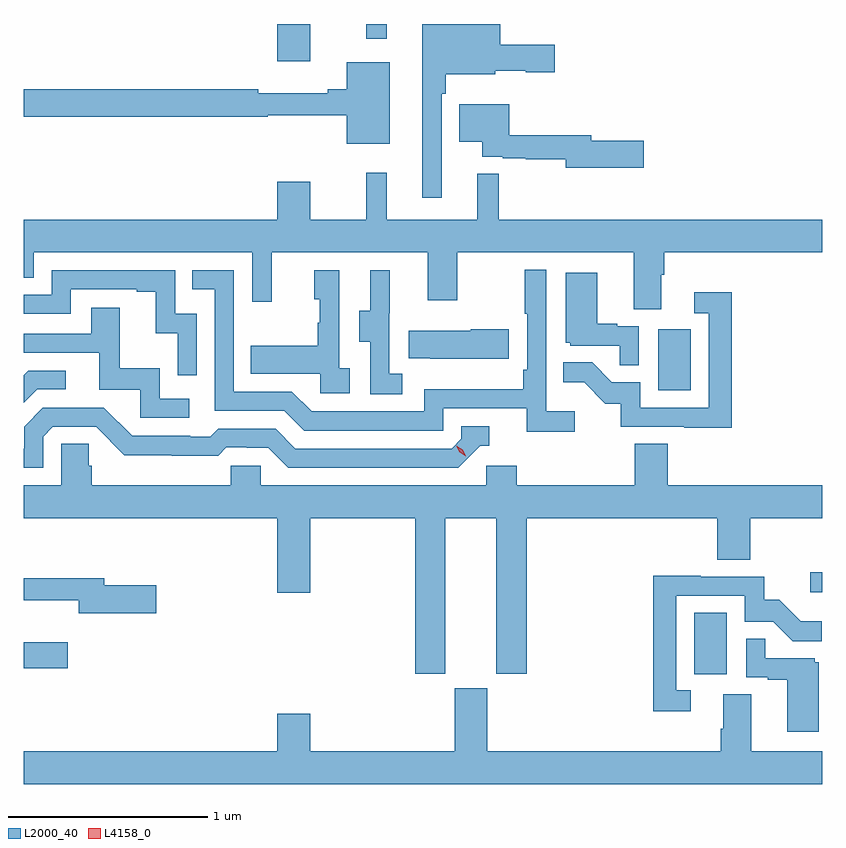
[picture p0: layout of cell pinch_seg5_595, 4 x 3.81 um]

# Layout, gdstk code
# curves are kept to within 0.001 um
import gdstk
lib = gdstk.Library(unit=1e-6, precision=1e-09)
def R(c, l, rs):  # rectangles x0, y0, x1, y1
    for r in rs: c.add(gdstk.rectangle(r[:2], r[2:], *l))
def P(c, l, *ps):  # polygons
    for p in ps: c.add(gdstk.Polygon(p, *l))
L2000_40 = (2000, 40)
L4158_0 = (4158, 0)

pinch_seg5_595 = lib.new_cell('pinch_seg5_595')
R(pinch_seg5_595, L2000_40, [(1114.148,862.638,1114.312,862.945), (1110.79,862.669,1111.009,862.798), (1114.731,863.048,1114.79,863.15), (1113.968,864.06,1114.132,864.367), (1112.06,865.71,1112.224,865.896), (1112.506,865.821,1112.608,865.896)])
P(pinch_seg5_595, L2000_40, [(1112.883,865.547),(1112.903,865.547),(1112.903,865.643),(1113.153,865.643),(1113.153,865.661),(1113.304,865.661),(1113.304,865.654),(1113.451,865.654),(1113.451,865.791),(1113.176,865.791),(1113.176,865.896),(1112.786,865.896),(1112.786,865.026),(1112.883,865.026)],
  [(1112.623,865.705),(1112.408,865.705),(1112.408,865.568),(1112.312,865.568),(1112.312,865.549),(1111.964,865.549),(1111.964,865.568),(1110.79,865.568),(1110.79,865.432),(1112.012,865.432),(1112.012,865.44),(1112.408,865.44),(1112.408,865.295),(1112.623,865.295)],
  [(1113.895,865.31),(1113.634,865.31),(1113.634,865.339),(1113.221,865.339),(1113.221,865.495),(1112.972,865.495),(1112.972,865.307),(1113.086,865.307),(1113.086,865.23),(1113.19,865.23),(1113.19,865.224),(1113.304,865.224),(1113.304,865.218),(1113.506,865.218),(1113.506,865.175),(1113.895,865.175)],
  [(1113.985,864.64),(1113.998,864.64),(1113.998,864.752),(1114.79,864.752),(1114.79,864.916),(1113.17,864.916),(1113.17,865.145),(1113.062,865.145),(1113.062,864.916),(1112.609,864.916),(1112.609,865.15),(1112.506,865.15),(1112.506,864.916),(1112.224,864.916),(1112.224,865.105),(1112.06,865.105),(1112.06,864.916),(1110.79,864.916),(1110.79,864.625),(1110.84,864.625),(1110.84,864.752),(1111.935,864.752),(1111.935,864.504),(1112.033,864.504),(1112.033,864.752),(1112.813,864.752),(1112.813,864.513),(1112.961,864.513),(1112.961,864.752),(1113.845,864.752),(1113.845,864.466),(1113.985,864.466)],
  [(1113.55,863.956),(1113.408,863.956),(1113.408,864.664),(1113.3,864.664),(1113.3,864.445),(1113.312,864.445),(1113.312,864.163),(1113.292,864.163),(1113.292,864.067),(1112.796,864.067),(1112.796,863.955),(1112.232,863.955),(1112.133,864.054),(1111.842,864.054),(1111.842,864.663),(1111.633,864.663),(1111.633,864.567),(1111.746,864.567),(1111.746,863.958),(1112.096,863.958),(1112.195,863.859),(1112.892,863.859),(1112.892,863.97),(1113.311,863.97),(1113.311,863.854),(1113.55,863.854)],
  [(1111.656,864.444),(1111.548,864.444),(1111.548,864.663),(1110.93,864.663),(1110.93,864.54),(1110.79,864.54),(1110.79,864.444),(1111.026,864.444),(1111.026,864.567),(1111.355,864.567),(1111.355,864.555),(1111.451,864.555),(1111.451,864.347),(1111.56,864.347),(1111.56,864.135),(1111.656,864.135)],
  [(1112.422,864.17),(1112.37,864.17),(1112.37,864.661),(1112.246,864.661),(1112.246,864.516),(1112.272,864.516),(1112.272,864.398),(1112.262,864.398),(1112.262,864.283),(1111.927,864.283),(1111.927,864.143),(1112.274,864.143),(1112.274,864.045),(1112.422,864.045)],
  [(1112.686,864.143),(1112.622,864.143),(1112.622,864.447),(1112.624,864.447),(1112.624,864.661),(1112.525,864.661),(1112.525,864.459),(1112.471,864.459),(1112.471,864.304),(1112.526,864.304),(1112.526,864.04),(1112.686,864.04)],
  [(1113.87,864.381),(1113.764,864.381),(1113.764,864.394),(1113.664,864.394),(1113.664,864.649),(1113.506,864.649),(1113.506,864.3),(1113.528,864.3),(1113.528,864.285),(1113.775,864.285),(1113.775,864.187),(1113.87,864.187)],
  [(1114.337,864.553),(1114.149,864.553),(1114.149,864.447),(1114.221,864.447),(1114.221,863.973),(1113.879,863.973),(1113.879,864.102),(1113.735,864.102),(1113.637,864.2),(1113.493,864.2),(1113.493,864.101),(1113.597,864.101),(1113.704,863.994),(1113.781,863.994),(1113.781,863.877),(1114.099,863.877),(1114.099,863.872),(1114.337,863.872)],
  [(1111.618,864.018),(1111.47,864.018),(1111.47,864.172),(1111.271,864.172),(1111.271,864.475),(1111.127,864.475),(1111.127,864.345),(1110.79,864.345),(1110.79,864.249),(1111.169,864.249),(1111.169,864.063),(1111.374,864.063),(1111.374,863.922),(1111.618,863.922)],
  [(1113.22,864.366),(1113.029,864.366),(1113.029,864.358),(1112.719,864.358),(1112.719,864.221),(1112.827,864.221),(1112.827,864.218),(1113.22,864.218)],
  [(1110.858,864.066),(1111,864.066),(1111,864.159),(1110.812,864.159),(1110.79,864.137),(1110.79,863.998)],
  [(1110.888,863.829),(1110.936,863.877),(1111.152,863.877),(1111.294,863.735),(1111.53,863.735),(1111.53,863.733),(1111.763,863.733),(1111.805,863.775),(1111.908,863.775),(1111.908,863.772),(1112.015,863.772),(1112.114,863.673),(1112.967,863.673),(1113.078,863.784),(1113.121,863.784),(1113.121,863.88),(1112.982,863.88),(1112.982,863.817),(1112.934,863.769),(1112.151,863.769),(1112.052,863.868),(1111.763,863.868),(1111.724,863.829),(1111.625,863.829),(1111.625,863.832),(1111.332,863.832),(1111.191,863.973),(1110.885,863.973),(1110.791,863.879),(1110.79,863.673),(1110.888,863.673)],
  [(1112.902,863.42),(1113.158,863.42),(1113.158,862.641),(1113.311,862.641),(1113.311,863.42),(1114.265,863.42),(1114.265,863.212),(1114.43,863.212),(1114.43,863.42),(1114.79,863.42),(1114.79,863.584),(1114.016,863.584),(1114.016,863.792),(1113.851,863.792),(1113.851,863.584),(1113.26,863.584),(1113.26,863.682),(1113.108,863.682),(1113.108,863.584),(1111.977,863.584),(1111.977,863.682),(1111.827,863.682),(1111.827,863.584),(1111.13,863.584),(1111.13,863.682),(1111.115,863.682),(1111.115,863.792),(1110.978,863.792),(1110.978,863.584),(1110.79,863.584),(1110.79,863.42),(1112.06,863.42),(1112.06,863.046),(1112.224,863.046),(1112.224,863.42),(1112.75,863.42),(1112.75,862.641),(1112.902,862.641)],
  [(1114.132,862.557),(1114.059,862.557),(1114.059,863.031),(1114.401,863.031),(1114.401,862.902),(1114.545,862.902),(1114.643,862.804),(1114.787,862.804),(1114.787,862.903),(1114.683,862.903),(1114.576,863.01),(1114.5,863.01),(1114.5,863.127),(1114.181,863.127),(1114.181,863.132),(1113.943,863.132),(1113.943,862.452),(1114.132,862.452)],
  [(1111.453,863.085),(1111.192,863.085),(1111.192,863.119),(1110.79,863.119),(1110.79,863.009),(1111.064,863.009),(1111.064,862.943),(1111.453,862.943)],
  [(1114.774,862.698),(1114.752,862.698),(1114.752,862.719),(1114.505,862.719),(1114.505,862.817),(1114.41,862.817),(1114.41,862.623),(1114.517,862.623),(1114.517,862.611),(1114.616,862.611),(1114.616,862.35),(1114.774,862.35)],
  [(1114.79,862.252),(1114.435,862.252),(1114.435,862.538),(1114.295,862.538),(1114.295,862.364),(1114.283,862.364),(1114.283,862.252),(1113.112,862.252),(1113.112,862.569),(1112.948,862.569),(1112.948,862.252),(1112.224,862.252),(1112.224,862.441),(1112.06,862.441),(1112.06,862.252),(1110.79,862.252),(1110.79,862.088),(1114.79,862.088)])
P(pinch_seg5_595, L4158_0, [(1113.003,863.729),(1112.973,863.749),(1112.957,863.782),(1112.957,863.782),(1112.957,863.782),(1112.988,863.762),(1113.003,863.73),(1113.003,863.729)])

lib.write_gds('pinch_seg5_595.gds')
